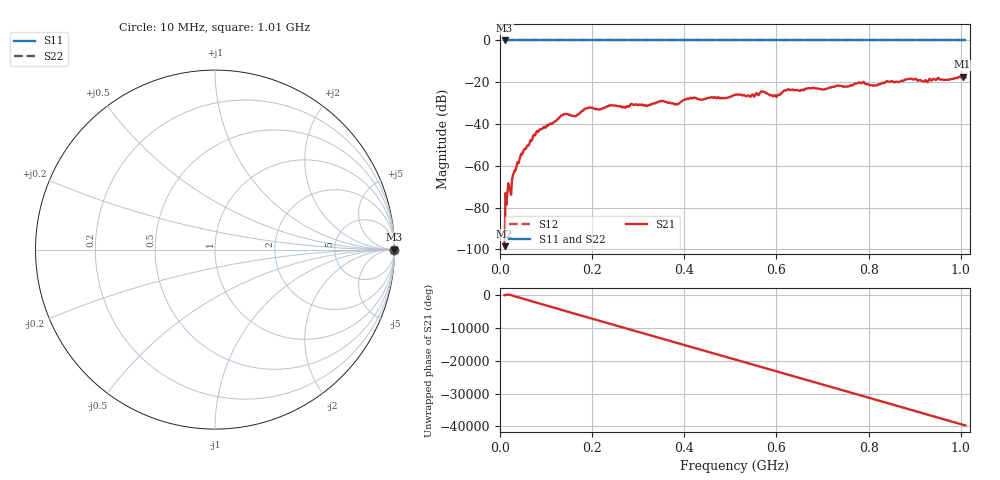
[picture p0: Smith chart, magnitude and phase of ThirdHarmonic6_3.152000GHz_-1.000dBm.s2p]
! 8/17/2025 9:26:29 AM
! C:\ANRITSUVNA\TEMP\TEMP.S2P
! CHANNEL.1
! TR.MEASUREMENT
! RAW.DATA
! RF.CORRECTION.OFF
! AVERAGING.OFF
! IF.BANDWIDTH: 5KHZ
! SWEEPTYPE:  FREQ.SWEEP(Linear)
! Reference Plane Port Info
! PORT:  PORT1  PORT2
! DISTANCE:  0  m  0  m
! TIME:  0  s  0  s
! PHASE.OFFSET:  0  deg.  0  deg.
! LOSS:  0  dB  0  dB
! REF.LOSS:  0  dB  0  dB
! REF.FREQ:  0  Hz  0  Hz
! Power Info
! POWER:  -20  dBm  -20  dBm
! EFF.POWER:  -20  dBm  -20  dBm
! SOURCE.ATTEN:  0  dB  0  dB
! TEST.ATTEN:  0  dB  0  dB
# GHZ S RI R 50.0
! FREQ.GHZ  S11RE  S11IM  S21RE  S21IM  S12RE  S12IM  S22RE  S22IM
!; PortSelection: Port_12
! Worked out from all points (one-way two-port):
!   501 points, 10 MHz to 1.01 GHz, reference 50 ohm
!   highest |S21| = -17.29 dB at 1.004 GHz (marker M1); lowest = -98.4 dB at 10 MHz (marker M2)
!   lowest |S11| = 0.0 dB at 10 MHz (marker M3)
!   |S11| at or under -10 dB: nowhere
!   |S22| runs from 0.0 to 0.0 dB; largest |S21 - S12| = 1.1
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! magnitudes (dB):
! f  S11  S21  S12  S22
! 10 MHz  0.0  -98.4  0.0  0.0
! 16 MHz  0.0  -73.1  0.0  0.0
! 24 MHz  0.0  -73.8  0.0  0.0
! 30 MHz  0.0  -63.4  0.0  0.0
! 42 MHz  0.0  -57.3  0.0  0.0
! 76 MHz  0.0  -45.5  0.0  0.0
! 136 MHz  0.0  -35.8  0.0  0.0
! 164 MHz  0.0  -36.2  0.0  0.0
! 178 MHz  0.0  -33.8  0.0  0.0
! 344 MHz  0.0  -29.5  0.0  0.0
! 384 MHz  0.0  -30.5  0.0  0.0
! 416 MHz  0.0  -27.8  0.0  0.0
! 510 MHz  0.0  -26.0  0.0  0.0
! 548 MHz  0.0  -25.8  0.0  0.0
! 570 MHz  0.0  -24.5  0.0  0.0
! 596 MHz  0.0  -26.1  0.0  0.0
! 622 MHz  0.0  -23.7  0.0  0.0
! 678 MHz  0.0  -22.8  0.0  0.0
! 814 MHz  0.0  -21.4  0.0  0.0
! 844 MHz  0.0  -19.8  0.0  0.0
! 1.004 GHz  0.0  -17.3  0.0  0.0
! 1.01 GHz  0.0  -17.8  0.0  0.0
